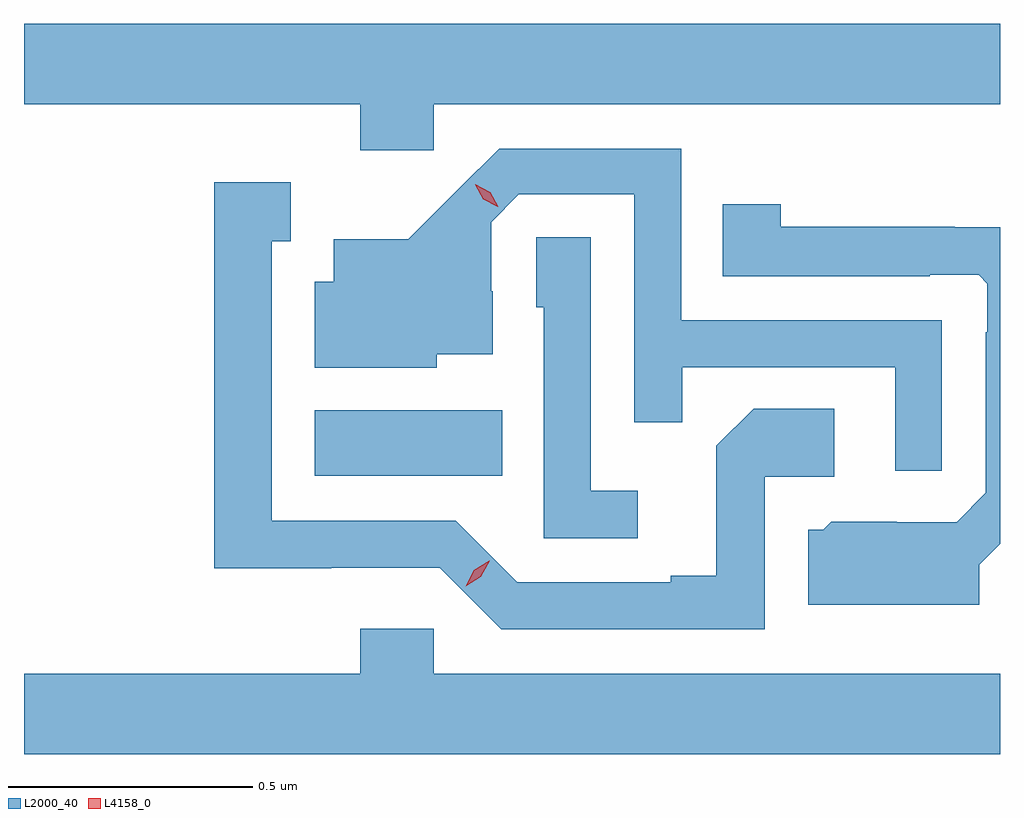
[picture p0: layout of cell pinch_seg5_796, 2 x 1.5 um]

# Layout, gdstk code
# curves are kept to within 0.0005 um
import gdstk
lib = gdstk.Library(unit=1e-6, precision=1e-09)
def R(c, l, rs):  # rectangles x0, y0, x1, y1
    for r in rs: c.add(gdstk.rectangle(r[:2], r[2:], *l))
def P(c, l, *ps):  # polygons
    for p in ps: c.add(gdstk.Polygon(p, *l))
L2000_40 = (2000, 40)
L4158_0 = (4158, 0)

pinch_seg5_796 = lib.new_cell('pinch_seg5_796')
R(pinch_seg5_796, L2000_40, [(777.398,910.61,777.782,910.744)])
P(pinch_seg5_796, L2000_40, [(777.642,911.372),(778.802,911.372),(778.802,911.536),(776.802,911.536),(776.802,911.372),(777.491,911.372),(777.491,911.277),(777.642,911.277)],
  [(778.683,910.929),(778.149,910.929),(778.149,911.28),(777.776,911.28),(777.589,911.095),(777.437,911.095),(777.437,911.008),(777.398,911.008),(777.398,910.832),(777.648,910.832),(777.648,910.859),(777.763,910.859),(777.763,910.988),(777.759,910.988),(777.759,911.13),(777.816,911.187),(778.053,911.187),(778.053,910.72),(778.151,910.72),(778.151,910.833),(778.587,910.833),(778.587,910.62),(778.683,910.62)],
  [(778.32,910.608),(778.462,910.608),(778.462,910.748),(778.297,910.748),(778.221,910.672),(778.221,910.405),(778.127,910.405),(778.127,910.392),(777.813,910.392),(777.687,910.518),(777.31,910.518),(777.31,911.091),(777.349,911.091),(777.349,911.212),(777.192,911.212),(777.192,910.421),(777.432,910.421),(777.432,910.422),(777.654,910.422),(777.78,910.296),(778.32,910.296)],
  [(778.759,910.428),(778.802,910.471),(778.802,911.119),(778.709,911.119),(778.709,911.12),(778.353,911.12),(778.353,911.167),(778.234,911.167),(778.234,911.019),(778.658,911.019),(778.658,911.022),(778.758,911.022),(778.776,911.004),(778.776,910.904),(778.773,910.904),(778.773,910.575),(778.713,910.515),(778.59,910.515),(778.59,910.516),(778.456,910.516),(778.44,910.5),(778.409,910.5),(778.409,910.346),(778.759,910.346)],
  [(778.06,910.579),(777.963,910.579),(777.963,911.099),(777.852,911.099),(777.852,910.956),(777.867,910.956),(777.867,910.482),(778.06,910.482)],
  [(778.802,910.204),(777.642,910.204),(777.642,910.297),(777.491,910.297),(777.491,910.204),(776.802,910.204),(776.802,910.04),(778.802,910.04)])
P(pinch_seg5_796, L4158_0, [(777.773,911.161),(777.743,911.177),(777.727,911.207),(777.727,911.208),(777.727,911.208),(777.757,911.191),(777.774,911.161),(777.774,911.161)],
  [(777.707,910.384),(777.707,910.384),(777.724,910.417),(777.755,910.436),(777.756,910.436),(777.756,910.436),(777.738,910.403),(777.707,910.384)])

lib.write_gds('pinch_seg5_796.gds')
